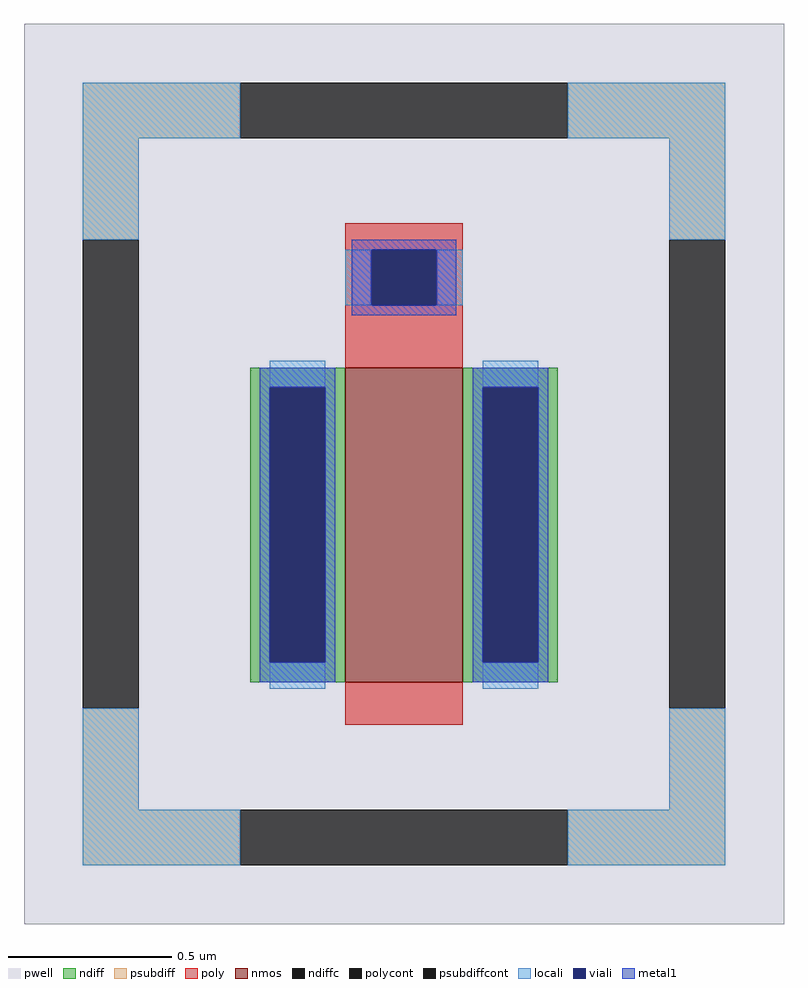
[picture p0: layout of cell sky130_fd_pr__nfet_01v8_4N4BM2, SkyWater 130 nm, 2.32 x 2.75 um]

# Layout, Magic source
magic
tech sky130A
magscale 1 2
<< pwell >>
rect -232 -275 232 275
<< nmos >>
rect -36 -127 36 65
<< ndiff >>
rect -94 53 -36 65
rect -94 -115 -82 53
rect -48 -115 -36 53
rect -94 -127 -36 -115
rect 36 53 94 65
rect 36 -115 48 53
rect 82 -115 94 53
rect 36 -127 94 -115
<< ndiffc >>
rect -82 -115 -48 53
rect 48 -115 82 53
<< psubdiff >>
rect -196 205 -100 239
rect 100 205 196 239
rect -196 143 -162 205
rect 162 143 196 205
rect -196 -205 -162 -143
rect 162 -205 196 -143
rect -196 -239 -100 -205
rect 100 -239 196 -205
<< psubdiffcont >>
rect -100 205 100 239
rect -196 -143 -162 143
rect 162 -143 196 143
rect -100 -239 100 -205
<< poly >>
rect -36 137 36 153
rect -36 103 -20 137
rect 20 103 36 137
rect -36 65 36 103
rect -36 -153 36 -127
<< polycont >>
rect -20 103 20 137
<< locali >>
rect -196 205 -100 239
rect 100 205 196 239
rect -196 143 -162 205
rect 162 143 196 205
rect -36 103 -20 137
rect 20 103 36 137
rect -82 53 -48 69
rect -82 -131 -48 -115
rect 48 53 82 69
rect 48 -131 82 -115
rect -196 -205 -162 -143
rect 162 -205 196 -143
rect -196 -239 -100 -205
rect 100 -239 196 -205
<< viali >>
rect -20 103 20 137
rect -82 -115 -48 53
rect 48 -115 82 53
<< metal1 >>
rect -32 137 32 143
rect -32 103 -20 137
rect 20 103 32 137
rect -32 97 32 103
rect -88 53 -42 65
rect -88 -115 -82 53
rect -48 -115 -42 53
rect -88 -127 -42 -115
rect 42 53 88 65
rect 42 -115 48 53
rect 82 -115 88 53
rect 42 -127 88 -115
<< properties >>
string FIXED_BBOX -179 -222 179 222
string gencell sky130_fd_pr__nfet_01v8
string library sky130
string parameters w 0.96 l 0.36 m 1 nf 1 diffcov 100 polycov 100 guard 1 glc 1 grc 1 gtc 1 gbc 1 tbcov 100 rlcov 100 topc 1 botc 0 poverlap 0 doverlap 1 lmin 0.15 wmin 0.42 compatible {sky130_fd_pr__nfet_01v8 sky130_fd_pr__nfet_01v8_lvt  sky130_fd_bs_flash__special_sonosfet_star  sky130_fd_pr__nfet_g5v0d10v5 sky130_fd_pr__nfet_05v0_nvt  sky130_fd_pr__nfet_03v3_nvt} full_metal 1 viasrc 100 viadrn 100 viagate 100 viagb 0 viagr 0 viagl 0 viagt 0
<< end >>
